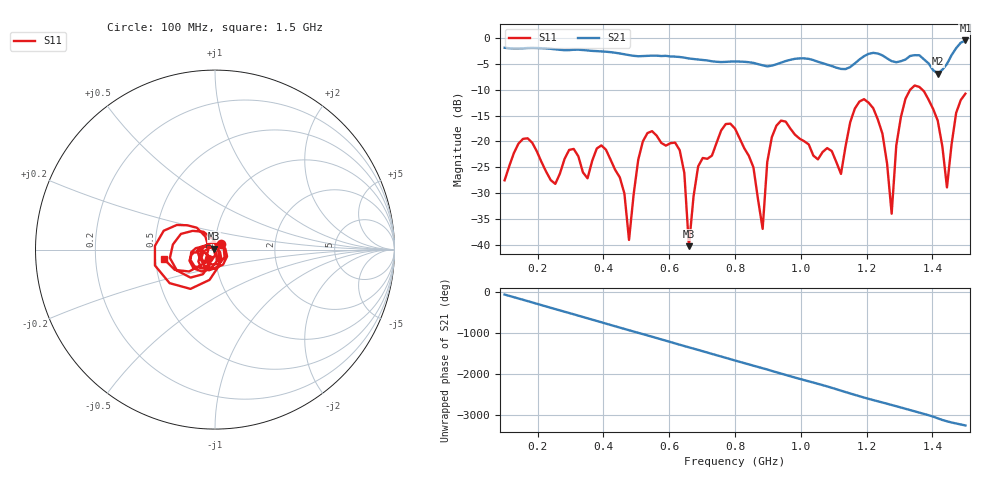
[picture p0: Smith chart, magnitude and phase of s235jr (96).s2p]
! NanoVNA-App
! Date: 2025-09-25 15:04:54
! Start: 100MHz Stop: 1,5GHz Points: 101
! S-Parameter data: F S11 S21 S12 S22
# Hz S RI R 50
!  Frequency  S11_Real  S11_Imag  S21_Real  S21_Imag  S12_Real  S12_Imag  S22_Real  S22_Imag
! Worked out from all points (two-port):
!   101 points, 100 MHz to 1.5 GHz, reference 50 ohm
!   highest |S21| = -0.55 dB at 1.5 GHz (marker M1); lowest = -6.9 dB at 1.416 GHz (marker M2)
!   |S21| within 3 dB of the highest: start of sweep to 499.5 MHz; 522 MHz to 594.5 MHz (72.59 MHz wide, 13 % of centre) (the widest 2 of 5)
!   lowest |S11| = -40.2 dB at 660 MHz (marker M3), VSWR 1.02, Z = 49.2 + j0.583 ohm
!   |S11| at or under -10 dB: start of sweep to 1.333 GHz; 1.369 GHz to end of sweep
!   S12 and S22 are empty: the file has one direction only
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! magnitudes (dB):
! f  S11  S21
! 100 MHz  -27.5  -2.0
! 170 MHz  -19.4  -2.0
! 338 MHz  -26.0  -2.4
! 408 MHz  -21.6  -2.7
! 478 MHz  -39.0  -3.4
! 520 MHz  -20.0  -3.6
! 576 MHz  -20.3  -3.5
! 632 MHz  -21.7  -3.7
! 660 MHz  -40.2  -4.0
! 688 MHz  -24.8  -4.2
! 800 MHz  -17.5  -4.6
! 884 MHz  -36.8  -5.3
! 926 MHz  -16.9  -5.1
! 1.038 GHz  -22.7  -4.3
! 1.122 GHz  -26.3  -6.0
! 1.192 GHz  -11.8  -3.6
! 1.248 GHz  -18.5  -3.4
! 1.276 GHz  -33.9  -4.5
! 1.318 GHz  -11.8  -4.2
! 1.416 GHz  -16.0  -6.9
! 1.444 GHz  -28.8  -5.1
! 1.5 GHz  -10.8  -0.5
